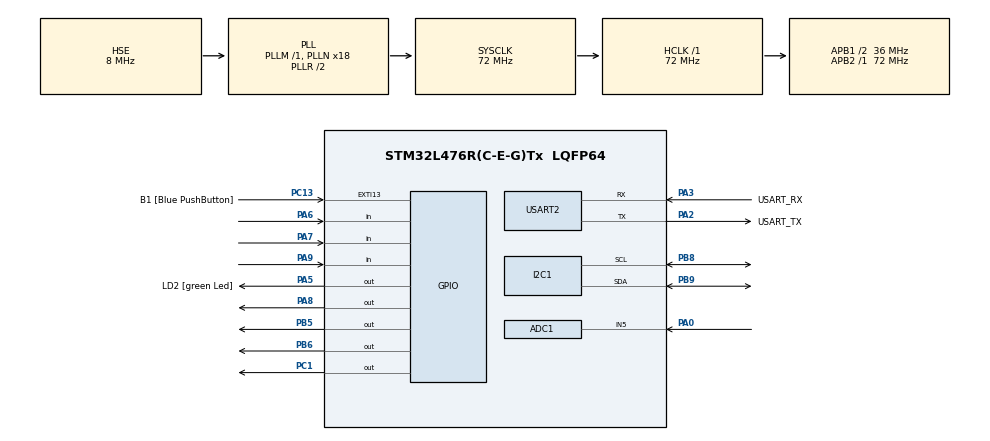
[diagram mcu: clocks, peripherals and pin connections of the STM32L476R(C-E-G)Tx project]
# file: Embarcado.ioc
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ADC1.Channel-0\#ChannelRegularConversion=ADC_CHANNEL_5
ADC1.NbrOfConversionFlag=1
ADC1.OffsetNumber-0\#ChannelRegularConversion=ADC_OFFSET_NONE
ADC1.Rank-0\#ChannelRegularConversion=1
ADC1.SamplingTime-0\#ChannelRegularConversion=ADC_SAMPLETIME_2CYCLES_5
ADC1.master=1
FREERTOS.Tasks01=defaultTask,0,128,StartDefaultTask,Default,NULL,Dynamic,NULL,NULL
FREERTOS.configTOTAL_HEAP_SIZE=16384
FREERTOS.configUSE_NEWLIB_REENTRANT=1
I2C1.Timing=0x00C08CCB
Mcu.Family=STM32L4
Mcu.Name=STM32L476R(C-E-G)Tx
Mcu.Package=LQFP64
NVIC.PriorityGroup=NVIC_PRIORITYGROUP_4
NVIC.TIM1_UP_TIM16_IRQn=true\:15\:0\:false\:false\:true\:false\:false\:true\:true
NVIC.TimeBase=TIM1_UP_TIM16_IRQn
NVIC.TimeBaseIP=TIM1
PA0.Signal=ADCx_IN5
PA13\ (JTMS-SWDIO).GPIO_Label=TMS
PA13\ (JTMS-SWDIO).Mode=Serial_Wire
PA13\ (JTMS-SWDIO).Signal=SYS_JTMS-SWDIO
PA14\ (JTCK-SWCLK).GPIO_Label=TCK
PA14\ (JTCK-SWCLK).Mode=Serial_Wire
PA14\ (JTCK-SWCLK).Signal=SYS_JTCK-SWCLK
PA2.GPIO_Label=USART_TX
PA2.GPIO_Mode=GPIO_MODE_AF_PP
PA2.GPIO_PuPd=GPIO_NOPULL
PA2.GPIO_Speed=GPIO_SPEED_FREQ_VERY_HIGH
PA2.Mode=Asynchronous
PA2.Signal=USART2_TX
PA3.GPIO_Label=USART_RX
PA3.GPIO_Mode=GPIO_MODE_AF_PP
PA3.GPIO_PuPd=GPIO_NOPULL
PA3.GPIO_Speed=GPIO_SPEED_FREQ_VERY_HIGH
PA3.Mode=Asynchronous
PA3.Signal=USART2_RX
PA5.GPIO_Label=LD2 [green Led]
PA5.GPIO_ModeDefaultOutputPP=GPIO_MODE_OUTPUT_PP
PA5.GPIO_PuPd=GPIO_NOPULL
PA5.GPIO_Speed=GPIO_SPEED_FREQ_LOW
PA5.Signal=GPIO_Output
PA6.GPIO_PuPd=GPIO_PULLDOWN
PA6.Signal=GPIO_Input
PA7.GPIO_PuPd=GPIO_PULLDOWN
PA7.Signal=GPIO_Input
PA8.Signal=GPIO_Output
PA9.Signal=GPIO_Input
PB3\ (JTDO-TRACESWO).GPIO_Label=SWO
PB3\ (JTDO-TRACESWO).Signal=SYS_JTDO-SWO
PB5.Signal=GPIO_Output
PB6.Signal=GPIO_Output
PB8.Mode=I2C
PB8.Signal=I2C1_SCL
PB9.Mode=I2C
PB9.Signal=I2C1_SDA
PC1.Signal=GPIO_Output
PC13.GPIO_Label=B1 [Blue PushButton]
PC13.GPIO_ModeDefaultEXTI=GPIO_MODE_IT_FALLING
PC13.GPIO_PuPd=GPIO_NOPULL
PC13.Signal=GPXTI13
PC14-OSC32_IN\ (PC14).Signal=RCC_OSC32_IN
PC15-OSC32_OUT\ (PC15).Signal=RCC_OSC32_OUT
PH0-OSC_IN\ (PH0).Mode=HSE-External-Oscillator
PH0-OSC_IN\ (PH0).Signal=RCC_OSC_IN
PH1-OSC_OUT\ (PH1).Mode=HSE-External-Oscillator
PH1-OSC_OUT\ (PH1).Signal=RCC_OSC_OUT
ProjectManager.HeapSize=0x200
ProjectManager.StackSize=0x400
ProjectManager.TargetToolchain=STM32CubeIDE
RCC.ADCFreq_Value=32000000
RCC.AHBFreq_Value=72000000
RCC.APB1CLKDivider=RCC_HCLK_DIV2
RCC.APB1Freq_Value=36000000
RCC.APB1TimFreq_Value=72000000
RCC.APB2Freq_Value=72000000
RCC.APB2TimFreq_Value=72000000
RCC.CortexFreq_Value=72000000
RCC.HCLKFreq_Value=72000000
RCC.HSE_VALUE=8000000
RCC.HSI_VALUE=16000000
RCC.LSE_VALUE=32768
RCC.MSI_VALUE=4000000
RCC.PLLN=18
RCC.PLLSourceVirtual=RCC_PLLSOURCE_HSE
RCC.PREFETCH_ENABLE=1
RCC.SYSCLKFreq_VALUE=72000000
RCC.SYSCLKSource=RCC_SYSCLKSOURCE_PLLCLK
RCC.USBFreq_Value=32000000
RCC.VCOOutputFreq_Value=144000000
SH.ADCx_IN5.0=ADC1_IN5,IN5-Single-Ended
TIM2.Channel-Input_Capture1_from_TI1=TIM_CHANNEL_1
TIM2.Period=65535
TIM2.Prescaler=72-1
USART2.VirtualMode-Asynchronous=VM_ASYNC
VP_FREERTOS_VS_CMSIS_V1.Mode=CMSIS_V1
VP_SYS_VS_tim1.Mode=TIM1
VP_TIM2_VS_ClockSourceINT.Mode=Internal
board=NUCLEO-L476RG

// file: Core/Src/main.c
/* USER CODE BEGIN Header */
/**
  ******************************************************************************
  * @file           : main.c
  * @brief          : Main program body
  ******************************************************************************
  * @attention
  *
  * Copyright (c) 2024 STMicroelectronics.
  * All rights reserved.
  *
  * This software is licensed under terms that can be found in the LICENSE file
  * in the root directory of this software component.
  * If no LICENSE file comes with this software, it is provided AS-IS.
  *
  ******************************************************************************
  */
/* USER CODE END Header */
#include "main.h"
#include "cmsis_os.h"

/* USER CODE BEGIN Includes */

#define STDOUT_FILENO 1
#define STDERR_FILENO 2
#include "liquidcrystal_i2c.h"

/* USER CODE END Includes */

ADC_HandleTypeDef hadc1;

I2C_HandleTypeDef hi2c1;

TIM_HandleTypeDef htim2;

UART_HandleTypeDef huart2;

osThreadId defaultTaskHandle;
/* USER CODE BEGIN PV */
#define TRIG_PIN GPIO_PIN_8
#define TRIG_PORT GPIOA
#define ECHO_PIN GPIO_PIN_9
#define ECHO_PORT GPIOA
uint32_t pMillis;
uint32_t Value1 = 0;
uint32_t Value2 = 0;
uint32_t Distance  = 0;  // cm

/* USER CODE END PV */

void SystemClock_Config(void);
static void MX_GPIO_Init(void);
static void MX_USART2_UART_Init(void);
static void MX_ADC1_Init(void);
static void MX_TIM2_Init(void);
static void MX_I2C1_Init(void);
void StartDefaultTask(void const * argument);

/* USER CODE BEGIN PFP */

//está parte eu botei na parte de configuração

//int _write(int file, uint8_t *ptr, int len);

void button_led_red(void);
void button_led_green(void);
void button_led_yell(void);
void readVoltage(void);
void read_distance(void);
void LCD_Task(void *pvParameters);

// void CMD(void);

/* USER CODE END PFP */

int main(void)
{

  /* MCU Configuration--------------------------------------------------------*/

  /* Reset of all peripherals, Initializes the Flash interface and the Systick. */
  HAL_Init();

  /* Configure the system clock */
  SystemClock_Config();

  /* Initialize all configured peripherals */
  MX_GPIO_Init();
  MX_USART2_UART_Init();
  MX_ADC1_Init();
  MX_TIM2_Init();
  MX_I2C1_Init();
  /* USER CODE BEGIN 2 */
  HAL_TIM_Base_Start(&htim2);
  HAL_GPIO_WritePin(TRIG_PORT, TRIG_PIN, GPIO_PIN_RESET);  // pull the TRIG pin low

  /* USER CODE END 2 */

  /* Create the thread(s) */
  /* definition and creation of defaultTask */
  osThreadDef(defaultTask, StartDefaultTask, osPriorityNormal, 0, 128);
  defaultTaskHandle = osThreadCreate(osThread(defaultTask), NULL);

  /* USER CODE BEGIN RTOS_THREADS */
  /* add threads, ... */

  xTaskCreate(button_led_red, "read_button_blink_lead_red",configMINIMAL_STACK_SIZE,NULL,tskIDLE_PRIORITY,NULL);
  xTaskCreate(button_led_green, "read_button_blink_lead_green",configMINIMAL_STACK_SIZE,NULL,tskIDLE_PRIORITY,NULL);
  xTaskCreate(button_led_yell, "read_button_blink_lead_yell",configMINIMAL_STACK_SIZE,NULL,tskIDLE_PRIORITY,NULL);
  xTaskCreate(readVoltage, "read_voltage_potenciometro",configMINIMAL_STACK_SIZE,NULL,tskIDLE_PRIORITY,NULL);
  xTaskCreate(read_distance, "read_distance",configMINIMAL_STACK_SIZE,NULL,tskIDLE_PRIORITY,NULL);
  xTaskCreate(LCD_Task, "LCD Display Task", 128, NULL, 1, NULL);

 // xTaskCreate(CMD, "comand_line_cmd",configMINIMAL_STACK_SIZE,NULL,tskIDLE_PRIORITY,NULL);

  /* USER CODE END RTOS_THREADS */

  /* Start scheduler */
  osKernelStart();

  /* We should never get here as control is now taken by the scheduler */

  /* Infinite loop */
  while (1)
  {

  }
}

void SystemClock_Config(void)
{
  RCC_OscInitTypeDef RCC_OscInitStruct = {0};
  RCC_ClkInitTypeDef RCC_ClkInitStruct = {0};

  /** Configure the main internal regulator output voltage
  */
  if (HAL_PWREx_ControlVoltageScaling(PWR_REGULATOR_VOLTAGE_SCALE1) != HAL_OK)
  {
    Error_Handler();
  }

  /** Initializes the RCC Oscillators according to the specified parameters
  * in the RCC_OscInitTypeDef structure.
  */
  RCC_OscInitStruct.OscillatorType = RCC_OSCILLATORTYPE_HSE;
  RCC_OscInitStruct.HSEState = RCC_HSE_ON;
  RCC_OscInitStruct.PLL.PLLState = RCC_PLL_ON;
  RCC_OscInitStruct.PLL.PLLSource = RCC_PLLSOURCE_HSE;
  RCC_OscInitStruct.PLL.PLLM = 1;
  RCC_OscInitStruct.PLL.PLLN = 18;
  RCC_OscInitStruct.PLL.PLLP = RCC_PLLP_DIV7;
  RCC_OscInitStruct.PLL.PLLQ = RCC_PLLQ_DIV2;
  RCC_OscInitStruct.PLL.PLLR = RCC_PLLR_DIV2;
  if (HAL_RCC_OscConfig(&RCC_OscInitStruct) != HAL_OK)
  {
    Error_Handler();
  }

  /** Initializes the CPU, AHB and APB buses clocks
  */
  RCC_ClkInitStruct.ClockType = RCC_CLOCKTYPE_HCLK|RCC_CLOCKTYPE_SYSCLK
                              |RCC_CLOCKTYPE_PCLK1|RCC_CLOCKTYPE_PCLK2;
  RCC_ClkInitStruct.SYSCLKSource = RCC_SYSCLKSOURCE_PLLCLK;
  RCC_ClkInitStruct.AHBCLKDivider = RCC_SYSCLK_DIV1;
  RCC_ClkInitStruct.APB1CLKDivider = RCC_HCLK_DIV2;
  RCC_ClkInitStruct.APB2CLKDivider = RCC_HCLK_DIV1;

  if (HAL_RCC_ClockConfig(&RCC_ClkInitStruct, FLASH_LATENCY_4) != HAL_OK)
  {
    Error_Handler();
  }
}

static void MX_ADC1_Init(void)
{

  ADC_MultiModeTypeDef multimode = {0};
  ADC_ChannelConfTypeDef sConfig = {0};

  /** Common config
  */
  hadc1.Instance = ADC1;
  hadc1.Init.ClockPrescaler = ADC_CLOCK_ASYNC_DIV1;
  hadc1.Init.Resolution = ADC_RESOLUTION_12B;
  hadc1.Init.DataAlign = ADC_DATAALIGN_RIGHT;
  hadc1.Init.ScanConvMode = ADC_SCAN_DISABLE;
  hadc1.Init.EOCSelection = ADC_EOC_SINGLE_CONV;
  hadc1.Init.LowPowerAutoWait = DISABLE;
  hadc1.Init.ContinuousConvMode = DISABLE;
  hadc1.Init.NbrOfConversion = 1;
  hadc1.Init.DiscontinuousConvMode = DISABLE;
  hadc1.Init.ExternalTrigConv = ADC_SOFTWARE_START;
  hadc1.Init.ExternalTrigConvEdge = ADC_EXTERNALTRIGCONVEDGE_NONE;
  hadc1.Init.DMAContinuousRequests = DISABLE;
  hadc1.Init.Overrun = ADC_OVR_DATA_PRESERVED;
  hadc1.Init.OversamplingMode = DISABLE;
  if (HAL_ADC_Init(&hadc1) != HAL_OK)
  {
    Error_Handler();
  }

  /** Configure the ADC multi-mode
  */
  multimode.Mode = ADC_MODE_INDEPENDENT;
  if (HAL_ADCEx_MultiModeConfigChannel(&hadc1, &multimode) != HAL_OK)
  {
    Error_Handler();
  }

  /** Configure Regular Channel
  */
  sConfig.Channel = ADC_CHANNEL_5;
  sConfig.Rank = ADC_REGULAR_RANK_1;
  sConfig.SamplingTime = ADC_SAMPLETIME_2CYCLES_5;
  sConfig.SingleDiff = ADC_SINGLE_ENDED;
  sConfig.OffsetNumber = ADC_OFFSET_NONE;
  sConfig.Offset = 0;
  if (HAL_ADC_ConfigChannel(&hadc1, &sConfig) != HAL_OK)
  {
    Error_Handler();
  }

}

static void MX_I2C1_Init(void)
{

  hi2c1.Instance = I2C1;
  hi2c1.Init.Timing = 0x00C08CCB;
  hi2c1.Init.OwnAddress1 = 0;
  hi2c1.Init.AddressingMode = I2C_ADDRESSINGMODE_7BIT;
  hi2c1.Init.DualAddressMode = I2C_DUALADDRESS_DISABLE;
  hi2c1.Init.OwnAddress2 = 0;
  hi2c1.Init.OwnAddress2Masks = I2C_OA2_NOMASK;
  hi2c1.Init.GeneralCallMode = I2C_GENERALCALL_DISABLE;
  hi2c1.Init.NoStretchMode = I2C_NOSTRETCH_DISABLE;
  if (HAL_I2C_Init(&hi2c1) != HAL_OK)
  {
    Error_Handler();
  }

  /** Configure Analogue filter
  */
  if (HAL_I2CEx_ConfigAnalogFilter(&hi2c1, I2C_ANALOGFILTER_ENABLE) != HAL_OK)
  {
    Error_Handler();
  }

  /** Configure Digital filter
  */
  if (HAL_I2CEx_ConfigDigitalFilter(&hi2c1, 0) != HAL_OK)
  {
    Error_Handler();
  }

}

static void MX_TIM2_Init(void)
{

  TIM_ClockConfigTypeDef sClockSourceConfig = {0};
  TIM_MasterConfigTypeDef sMasterConfig = {0};

  htim2.Instance = TIM2;
  htim2.Init.Prescaler = 72-1;
  htim2.Init.CounterMode = TIM_COUNTERMODE_UP;
  htim2.Init.Period = 65535;
  htim2.Init.ClockDivision = TIM_CLOCKDIVISION_DIV1;
  htim2.Init.AutoReloadPreload = TIM_AUTORELOAD_PRELOAD_DISABLE;
  if (HAL_TIM_Base_Init(&htim2) != HAL_OK)
  {
    Error_Handler();
  }
  sClockSourceConfig.ClockSource = TIM_CLOCKSOURCE_INTERNAL;
  if (HAL_TIM_ConfigClockSource(&htim2, &sClockSourceConfig) != HAL_OK)
  {
    Error_Handler();
  }
  sMasterConfig.MasterOutputTrigger = TIM_TRGO_RESET;
  sMasterConfig.MasterSlaveMode = TIM_MASTERSLAVEMODE_DISABLE;
  if (HAL_TIMEx_MasterConfigSynchronization(&htim2, &sMasterConfig) != HAL_OK)
  {
    Error_Handler();
  }

}

static void MX_USART2_UART_Init(void)
{

  huart2.Instance = USART2;
  huart2.Init.BaudRate = 115200;
  huart2.Init.WordLength = UART_WORDLENGTH_8B;
  huart2.Init.StopBits = UART_STOPBITS_1;
  huart2.Init.Parity = UART_PARITY_NONE;
  huart2.Init.Mode = UART_MODE_TX_RX;
  huart2.Init.HwFlowCtl = UART_HWCONTROL_NONE;
  huart2.Init.OverSampling = UART_OVERSAMPLING_16;
  huart2.Init.OneBitSampling = UART_ONE_BIT_SAMPLE_DISABLE;
  huart2.AdvancedInit.AdvFeatureInit = UART_ADVFEATURE_NO_INIT;
  if (HAL_UART_Init(&huart2) != HAL_OK)
  {
    Error_Handler();
  }

}

static void MX_GPIO_Init(void)
{
  GPIO_InitTypeDef GPIO_InitStruct = {0};

  /* GPIO Ports Clock Enable */
  __HAL_RCC_GPIOC_CLK_ENABLE();
  __HAL_RCC_GPIOH_CLK_ENABLE();
  __HAL_RCC_GPIOA_CLK_ENABLE();
  __HAL_RCC_GPIOB_CLK_ENABLE();

  /*Configure GPIO pin Output Level */
  HAL_GPIO_WritePin(GPIOC, GPIO_PIN_1, GPIO_PIN_RESET);

  /*Configure GPIO pin Output Level */
  HAL_GPIO_WritePin(GPIOA, LD2_Pin|GPIO_PIN_8, GPIO_PIN_RESET);

  /*Configure GPIO pin Output Level */
  HAL_GPIO_WritePin(GPIOB, GPIO_PIN_5|GPIO_PIN_6, GPIO_PIN_RESET);

  /*Configure GPIO pin : B1_Pin */
  GPIO_InitStruct.Pin = B1_Pin;
  GPIO_InitStruct.Mode = GPIO_MODE_IT_FALLING;
  GPIO_InitStruct.Pull = GPIO_NOPULL;
  HAL_GPIO_Init(B1_GPIO_Port, &GPIO_InitStruct);

  /*Configure GPIO pin : PC1 */
  GPIO_InitStruct.Pin = GPIO_PIN_1;
  GPIO_InitStruct.Mode = GPIO_MODE_OUTPUT_PP;
  GPIO_InitStruct.Pull = GPIO_NOPULL;
  GPIO_InitStruct.Speed = GPIO_SPEED_FREQ_LOW;
  HAL_GPIO_Init(GPIOC, &GPIO_InitStruct);

  /*Configure GPIO pins : LD2_Pin PA8 */
  GPIO_InitStruct.Pin = LD2_Pin|GPIO_PIN_8;
  GPIO_InitStruct.Mode = GPIO_MODE_OUTPUT_PP;
  GPIO_InitStruct.Pull = GPIO_NOPULL;
  GPIO_InitStruct.Speed = GPIO_SPEED_FREQ_LOW;
  HAL_GPIO_Init(GPIOA, &GPIO_InitStruct);

  /*Configure GPIO pins : PA6 PA7 */
  GPIO_InitStruct.Pin = GPIO_PIN_6|GPIO_PIN_7;
  GPIO_InitStruct.Mode = GPIO_MODE_INPUT;
  GPIO_InitStruct.Pull = GPIO_PULLDOWN;
  HAL_GPIO_Init(GPIOA, &GPIO_InitStruct);

  /*Configure GPIO pin : PA9 */
  GPIO_InitStruct.Pin = GPIO_PIN_9;
  GPIO_InitStruct.Mode = GPIO_MODE_INPUT;
  GPIO_InitStruct.Pull = GPIO_NOPULL;
  HAL_GPIO_Init(GPIOA, &GPIO_InitStruct);

  /*Configure GPIO pins : PB5 PB6 */
  GPIO_InitStruct.Pin = GPIO_PIN_5|GPIO_PIN_6;
  GPIO_InitStruct.Mode = GPIO_MODE_OUTPUT_PP;
  GPIO_InitStruct.Pull = GPIO_NOPULL;
  GPIO_InitStruct.Speed = GPIO_SPEED_FREQ_LOW;
  HAL_GPIO_Init(GPIOB, &GPIO_InitStruct);

}

/* USER CODE BEGIN 4 */

/*
void CMD(void){
   for(;;){
        char recebido;
        if (HAL_UART_Receive(&huart2, &recebido, 1, HAL_MAX_DELAY)==HAL_OK)
            switch(recebido){
            case 'V':
            case 'v':
                HAL_GPIO_TogglePin(LD2_GPIO_Port, LD2_Pin);
                HAL_UART_Transmit(&huart2, "led green Toggle\n\r", sizeof("led green Toggle\n\r"), HAL_MAX_DELAY);
                break;
            case 'Y':
            case 'y':
                HAL_GPIO_TogglePin(GPIOA, GPIO_PIN_6);
                HAL_UART_Transmit(&huart2, "led Yellow Toggle\n\r", sizeof("led Yellow Toggle\n\r"), HAL_MAX_DELAY);
                break;

            case 'R':
            case 'r':
                if(!HAL_GPIO_ReadPin(B1_GPIO_Port, B1_Pin))
                    HAL_UART_Transmit(&huart2, "B1 press\n\r", sizeof("B1 press\r"), HAL_MAX_DELAY);
                else
                    HAL_UART_Transmit(&huart2, "B1 not press\n\r", sizeof("B1 not press\n\r"), HAL_MAX_DELAY);
                break;
            default:
                HAL_UART_Transmit(&huart2, "invalid \n\r", sizeof("invalid \n\r"), HAL_MAX_DELAY);
            }

   }
}

*/

          // Funções para acender os leds
void button_led_red(void){
   for(;;){
       if(HAL_GPIO_ReadPin(GPIOA, GPIO_PIN_6)){
           printf("red button press \n\r");
           HAL_GPIO_TogglePin(GPIOB, GPIO_PIN_6);
           osDelay(300);
       }
   }
}

void button_led_green(void){
   for(;;){
       if(HAL_GPIO_ReadPin(GPIOA, GPIO_PIN_7)){
           printf("green button press \n\r");
           HAL_GPIO_TogglePin(GPIOB, GPIO_PIN_5);
           osDelay(300);
       }
   }
}

void button_led_yell(void){
   for(;;){
       if(HAL_GPIO_ReadPin(GPIOA, GPIO_PIN_10)){
           printf("yellow button press \n\r");
           HAL_GPIO_TogglePin(GPIOB, GPIO_PIN_8);
           osDelay(300);
       }
   }
}

// Potenciometro

void readVoltage(void){
	for(;;){
	  HAL_ADC_Start(&hadc1);
	  HAL_ADC_PollForConversion(&hadc1, HAL_MAX_DELAY);
	  uint16_t valorPotenciometro = HAL_ADC_GetValue(&hadc1);

	  printf("%i\n\r", valorPotenciometro);
	  vTaskDelay(1000);
  }
}

void read_distance(void){

	while (1)
	  {
		HAL_GPIO_WritePin(TRIG_PORT, TRIG_PIN, GPIO_PIN_SET);  // pull the TRIG pin HIGH
		__HAL_TIM_SET_COUNTER(&htim2, 0);
		while (__HAL_TIM_GET_COUNTER (&htim2) < 10);  // wait for 10 us
		HAL_GPIO_WritePin(TRIG_PORT, TRIG_PIN, GPIO_PIN_RESET);  // pull the TRIG pin low

		pMillis = HAL_GetTick(); // used this to avoid infinite while loop  (for timeout)
		// wait for the echo pin to go high
	    while (!(HAL_GPIO_ReadPin (ECHO_PORT, ECHO_PIN)) && pMillis + 10 >  HAL_GetTick());
	    Value1 = __HAL_TIM_GET_COUNTER (&htim2);

	    pMillis = HAL_GetTick(); // used this to avoid infinite while loop (for timeout)
	    // wait for the echo pin to go low
	    while ((HAL_GPIO_ReadPin (ECHO_PORT, ECHO_PIN)) && pMillis + 10 > HAL_GetTick());
	    Value2 = __HAL_TIM_GET_COUNTER (&htim2);

	    printf("value 1 = %d\n\r", (Value1));
	    printf("value 2 = %d\n\r", (Value2));

	    Distance = (((Value2-Value1)* 0.0343) / 2);

	    printf("Distance = %d\n\r", (Value2-Value1));
	    osDelay(1000);

	    /* USER CODE END WHILE */

	    /* USER CODE BEGIN 3 */
	  }

}

void LCD_Task(void *pvParameters) {
    HD44780_Init(2);         // Inicializa o LCD
    HD44780_Clear();

    while (1) {
        // Exemplo: Exibe "HELLO" e "WORLD" e limpa o display
        HD44780_SetCursor(0, 0);
        HD44780_PrintStr("HELLO");
        HD44780_SetCursor(10, 1);
        HD44780_PrintStr("WORLD");

        osDelay(2000);      // Delay para visualização

        HD44780_Clear();      // Limpa o display
        HD44780_SetCursor(0, 0);
        HD44780_PrintStr("Learning STM32");

        // Move o texto para a esquerda
        for (int x = 0; x < 40; x++) {
            HD44780_ScrollDisplayLeft();
            osDelay(500);
        }

        osDelay(2000);      // Delay entre atualizações
    }
}

int _write(int file, uint8_t *ptr, int len)
{
switch (file)
{
case STDOUT_FILENO:
HAL_UART_Transmit(&huart2, ptr, len, HAL_MAX_DELAY);
break;

case STDERR_FILENO:
HAL_UART_Transmit(&huart2, ptr, len, HAL_MAX_DELAY);
break;

default:
return -1;
}

return len;
}

/* USER CODE END 4 */

void StartDefaultTask(void const * argument)
{
  for(;;)
  {
    osDelay(1);
  }
}

void HAL_TIM_PeriodElapsedCallback(TIM_HandleTypeDef *htim)
{
  if (htim->Instance == TIM1) {
    HAL_IncTick();
  }
}

void Error_Handler(void)
{
  __disable_irq();
  while (1)
  {
  }
}
